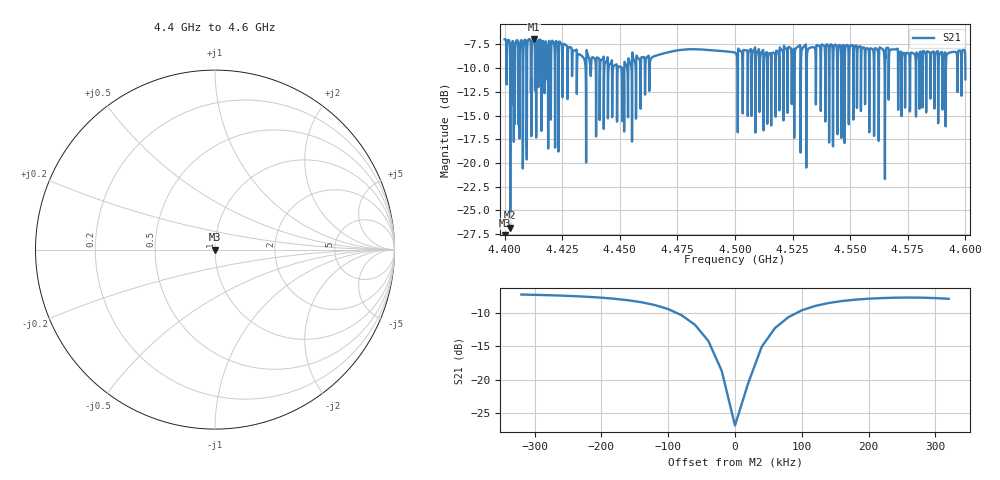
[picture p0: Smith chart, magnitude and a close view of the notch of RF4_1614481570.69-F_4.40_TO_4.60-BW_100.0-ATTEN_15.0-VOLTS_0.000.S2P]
!Keysight Technologies,E5063A,MY54502693,A.05.04
!Date: Sat Feb 27 20:06:29 2021
!Data & Calibration Information:
!Freq	S11:NONE(--)	S21:NONE(--)	S12:NONE(--)	S22:NONE(--)
# Hz S RI R 50
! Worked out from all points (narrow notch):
!   10000 points, 4.4 GHz to 4.6 GHz, reference 50 ohm
!   highest |S21| = -6.93 dB at 4.4126 GHz (marker M1); lowest = -26.8 dB at 4.4025 GHz (marker M2)
!   notch at M2: 18.6 dB deep, 55.7 kHz wide at half that depth
!   lowest |S11| = - dB at 4.4 GHz (marker M3), VSWR 1.00, Z = 50 + j0 ohm
!   |S11| at or under -10 dB: start of sweep to end of sweep
!   S12 and S22 are empty: the file has one direction only
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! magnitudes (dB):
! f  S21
! 4.4 GHz  -6.9
! 4.4025 GHz  -26.8
! 4.407 GHz  -7.1
! 4.4083 GHz  -7.5
! 4.4088 GHz  -7.0
! 4.4092 GHz  -7.2
! 4.4126 GHz  -6.9
! 4.4333 GHz  -8.7
! 4.451 GHz  -11.4
! 4.4667 GHz  -8.6
! 4.5 GHz  -8.4
! 4.5133 GHz  -8.4
! 4.5234 GHz  -7.8
! 4.5253 GHz  -8.2
! 4.5273 GHz  -7.7
! 4.5318 GHz  -8.0
! 4.5334 GHz  -7.8
! 4.5454 GHz  -7.5
! 4.5667 GHz  -11.9
! 4.5909 GHz  -8.4
! 4.5951 GHz  -8.3
! 4.6 GHz  -11.2
